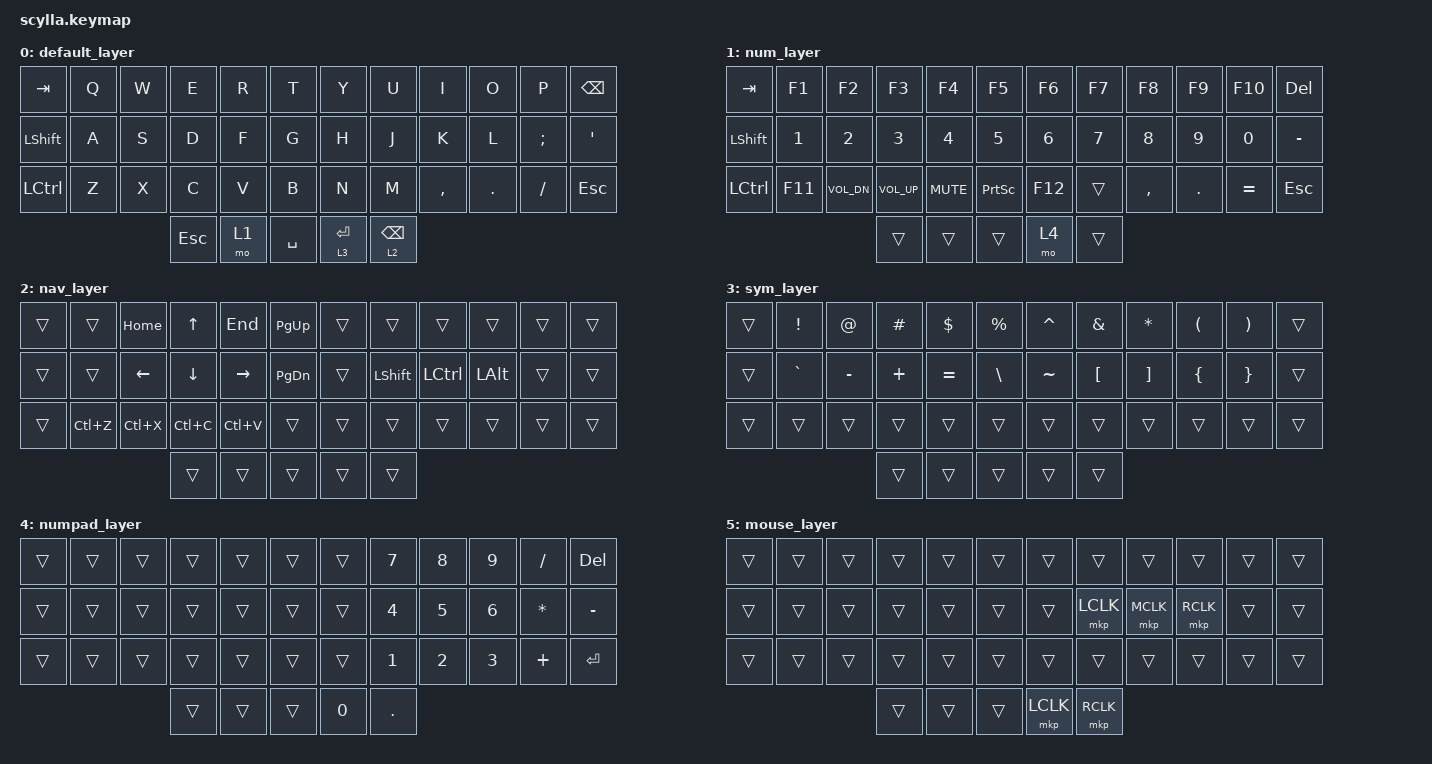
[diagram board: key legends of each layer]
#include <behaviors.dtsi>
#include <dt-bindings/zmk/keys.h>
#include <dt-bindings/zmk/bt.h>
#include <dt-bindings/zmk/mouse.h>
#include <dt-bindings/zmk/outputs.h>

/ {
    combos {
        compatible = "zmk,combos";

        // Буква Ё (Q + W / Й + Ц)
        combo_yo {
            timeout-ms = <50>;
            key-positions = <0 1>;
            bindings = <&kp GRAVE>;
        };

        // Буква Х (O + P / Щ + З)
        combo_kha {
            timeout-ms = <50>;
            key-positions = <8 9>;
            bindings = <&kp LBKT>;
        };

        // Буква Ъ (P + SEMI / З + Ж)
        combo_hard_sign {
            timeout-ms = <50>;
            key-positions = <9 10>;
            bindings = <&kp RBKT>;
        };

        // Буква Э (L + SEMI / Д + Ж)
        combo_e_sign {
            timeout-ms = <50>;
            key-positions = <20 21>;
            bindings = <&kp SQT>;
        };
    };

    keymap {
        compatible = "zmk,keymap";

        // Слой 0: Основной QWERTY (3x6)
        default_layer {
            bindings = <
&kp TAB    &kp Q  &kp W  &kp E  &kp R  &kp T        &kp Y  &kp U  &kp I      &kp O    &kp P     &kp BSPC
&kp LSHFT  &kp A  &kp S  &kp D  &kp F  &kp G        &kp H  &kp J  &kp K      &kp L    &kp SEMI  &kp SQT
&kp LCTRL  &kp Z  &kp X  &kp C  &kp V  &kp B        &kp N  &kp M  &kp COMMA  &kp DOT  &kp FSLH  &kp ESC
                         &kp ESC &mo 1 &kp SPACE    &lt 3 RET &lt 2 BSPC
            >;
        };

        // Слой 1: NUM (F1-F10 верх, 1-0 центр)
        num_layer {
            bindings = <
&kp TAB    &kp F1   &kp F2       &kp F3       &kp F4     &kp F5          &kp F6   &kp F7   &kp F8    &kp F9   &kp F10  &kp DEL
&kp LSHFT  &kp N1   &kp N2       &kp N3       &kp N4     &kp N5          &kp N6   &kp N7   &kp N8    &kp N9   &kp N0   &kp MINUS
&kp LCTRL  &kp F11  &kp C_VOL_DN &kp C_VOL_UP &kp C_MUTE &kp PSCRN       &kp F12  &trans   &kp COMMA &kp DOT  &kp EQUAL &kp ESC
                                 &trans       &trans     &trans          &mo 4    &trans
            >;
        };

        // Слой 2: NAV (Стрелки и навигация)
        nav_layer {
            bindings = <
&trans     &trans    &kp HOME  &kp UP    &kp END   &kp PG_UP    &trans  &trans    &trans    &trans    &trans &trans
&trans     &trans    &kp LEFT  &kp DOWN  &kp RIGHT &kp PG_DN    &trans  &kp LSHFT &kp LCTRL &kp LALT  &trans &trans
&trans     &kp LC(Z) &kp LC(X) &kp LC(C) &kp LC(V) &trans       &trans  &trans    &trans    &trans    &trans &trans
                               &trans    &trans    &trans       &trans  &trans
            >;
        };

        // Слой 3: SYM (Спецсимволы и скобки)
        sym_layer {
            bindings = <
&trans     &kp EXCL  &kp AT    &kp HASH  &kp DLLR  &kp PRCNT    &kp CARET &kp AMPS  &kp ASTRK &kp LPAR  &kp RPAR  &trans
&trans     &kp GRAVE &kp MINUS &kp PLUS  &kp EQUAL &kp BSLH     &kp TILDE &kp LBKT  &kp RBKT  &kp LBRC  &kp RBRC  &trans
&trans     &trans    &trans    &trans    &trans    &trans       &trans    &trans    &trans    &trans    &trans    &trans
                               &trans    &trans    &trans       &trans    &trans
            >;
        };

        // Слой 4: NUMPAD (Бухгалтерский блок 3х3)
        numpad_layer {
            bindings = <
&trans     &trans  &trans  &trans  &trans  &trans       &trans  &kp N7  &kp N8  &kp N9  &kp FSLH  &kp DEL
&trans     &trans  &trans  &trans  &trans  &trans       &trans  &kp N4  &kp N5  &kp N6  &kp ASTRK &kp MINUS
&trans     &trans  &trans  &trans  &trans  &trans       &trans  &kp N1  &kp N2  &kp N3  &kp PLUS  &kp RET
                           &trans  &trans  &trans       &kp N0  &kp DOT
            >;
        };

        // Слой 5: MOUSE (Мышь)
        mouse_layer {
            bindings = <
&trans     &trans  &trans  &trans  &trans  &trans       &trans  &trans    &trans    &trans    &trans &trans
&trans     &trans  &trans  &trans  &trans  &trans       &trans  &mkp LCLK &mkp MCLK &mkp RCLK &trans &trans
&trans     &trans  &trans  &trans  &trans  &trans       &trans  &trans    &trans    &trans    &trans &trans
                           &trans  &trans  &trans       &mkp LCLK &mkp RCLK
            >;
        };
    };
};


